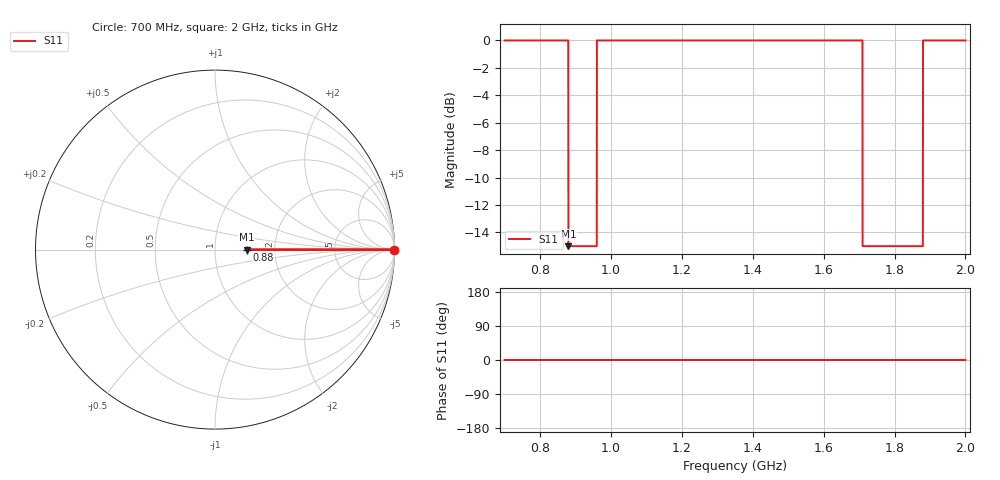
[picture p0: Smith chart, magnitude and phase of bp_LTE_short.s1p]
# Hz S  dB  R 50
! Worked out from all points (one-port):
!   2601 points, 700 MHz to 2 GHz, reference 50 ohm
!   lowest |S11| = -15.0 dB at 880 MHz (marker M1), VSWR 1.43, Z = 71.6 + j0 ohm
!   |S11| at or under -10 dB: 879.8 MHz to 960.2 MHz (80.33 MHz wide, 8.73 % of centre); 1.71 GHz to 1.88 GHz (170.3 MHz wide, 9.49 % of centre)
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7e8  0.00 0.0
8.625e8  0.00 0.0
8.73e8  0.00 0.0
8.76e8  0.00 0.0
8.8e8  -15.00 0.0
8.82e8  -15.00 0.0
8.835e8  -15.00 0.0
8.865e8  -15.00 0.0
9.535e8  -15.00 0.0
9.545e8  -15.00 0.0
9.555e8  -15.00 0.0
9.56e8  -15.00 0.0
9.605e8  0.00 0.0
9.625e8  0.00 0.0
9.63e8  0.00 0.0
9.67e8  0.00 0.0
1.025e9  0.00 0.0
1.1875e9  0.00 0.0
1.35e9  0.00 0.0
1.5125e9  0.00 0.0
1.675e9  0.00 0.0
1.703e9  0.00 0.0
1.7165e9  -15.00 0.0
1.8375e9  -15.00 0.0
1.8735e9  -15.00 0.0
1.883e9  0.00 0.0
1.887e9  0.00 0.0
2e9  0.00 0.0
